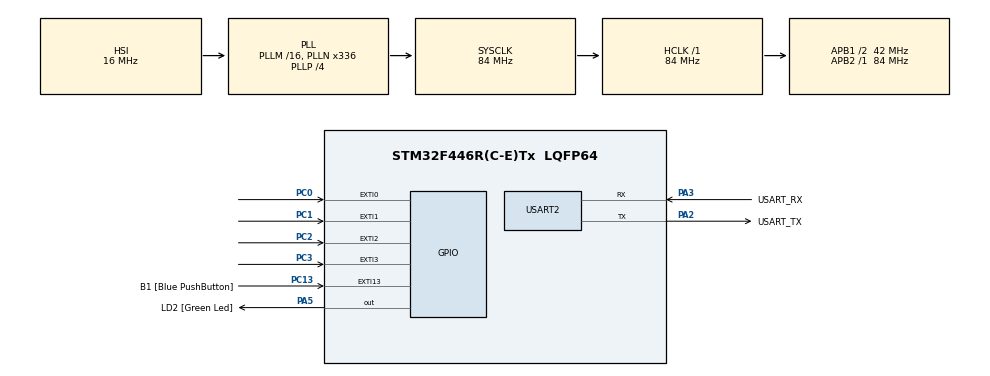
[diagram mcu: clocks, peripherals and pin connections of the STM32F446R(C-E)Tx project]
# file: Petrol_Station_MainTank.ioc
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FREERTOS.Mutexes01=TankMutex,Dynamic,NULL,Available
FREERTOS.Tasks01=defaultTask,24,128,StartDefaultTask,Default,NULL,Dynamic,NULL,NULL
FREERTOS.configUSE_NEWLIB_REENTRANT=1
Mcu.Family=STM32F4
Mcu.Name=STM32F446R(C-E)Tx
Mcu.Package=LQFP64
NVIC.EXTI0_IRQn=true\:0\:0\:false\:false\:true\:false\:true\:true\:true
NVIC.EXTI1_IRQn=true\:0\:0\:false\:false\:true\:false\:true\:true\:true
NVIC.EXTI2_IRQn=true\:0\:0\:false\:false\:true\:false\:true\:true\:true
NVIC.EXTI3_IRQn=true\:0\:0\:false\:false\:true\:false\:true\:true\:true
NVIC.PriorityGroup=NVIC_PRIORITYGROUP_4
NVIC.TIM1_UP_TIM10_IRQn=true\:15\:0\:false\:false\:true\:false\:false\:true\:true
NVIC.TimeBase=TIM1_UP_TIM10_IRQn
NVIC.TimeBaseIP=TIM10
PA13.GPIO_Label=TMS
PA13.Mode=Serial_Wire
PA13.Signal=SYS_JTMS-SWDIO
PA14.GPIO_Label=TCK
PA14.Mode=Serial_Wire
PA14.Signal=SYS_JTCK-SWCLK
PA2.GPIO_Label=USART_TX
PA2.Mode=Asynchronous
PA2.Signal=USART2_TX
PA3.GPIO_Label=USART_RX
PA3.Mode=Asynchronous
PA3.Signal=USART2_RX
PA5.GPIO_Label=LD2 [Green Led]
PA5.Signal=GPIO_Output
PB3.GPIO_Label=SWO
PB3.Signal=SYS_JTDO-SWO
PC0.Signal=GPXTI0
PC1.Signal=GPXTI1
PC13.GPIO_Label=B1 [Blue PushButton]
PC13.GPIO_ModeDefaultEXTI=GPIO_MODE_IT_FALLING
PC13.Signal=GPXTI13
PC14-OSC32_IN.Mode=LSE-External-Oscillator
PC14-OSC32_IN.Signal=RCC_OSC32_IN
PC15-OSC32_OUT.Mode=LSE-External-Oscillator
PC15-OSC32_OUT.Signal=RCC_OSC32_OUT
PC2.Signal=GPXTI2
PC3.Signal=GPXTI3
PH0-OSC_IN.Mode=HSE-External-Oscillator
PH0-OSC_IN.Signal=RCC_OSC_IN
PH1-OSC_OUT.Mode=HSE-External-Oscillator
PH1-OSC_OUT.Signal=RCC_OSC_OUT
ProjectManager.HeapSize=0x200
ProjectManager.StackSize=0x400
ProjectManager.TargetToolchain=STM32CubeIDE
RCC.48MHZClocksFreq_Value=84000000
RCC.AHBFreq_Value=84000000
RCC.APB1CLKDivider=RCC_HCLK_DIV2
RCC.APB1Freq_Value=42000000
RCC.APB1TimFreq_Value=84000000
RCC.APB2Freq_Value=84000000
RCC.APB2TimFreq_Value=84000000
RCC.CortexFreq_Value=84000000
RCC.FLatency-AdvancedSettings=FLASH_LATENCY_2
RCC.HCLKFreq_Value=84000000
RCC.HSE_VALUE=8000000
RCC.HSI_VALUE=16000000
RCC.PLLN=336
RCC.PLLP=RCC_PLLP_DIV4
RCC.SYSCLKFreq_VALUE=84000000
RCC.SYSCLKSource=RCC_SYSCLKSOURCE_PLLCLK
RCC.USBFreq_Value=168000000
RCC.VCOOutputFreq_Value=336000000
USART2.VirtualMode=VM_ASYNC
VP_FREERTOS_VS_CMSIS_V2.Mode=CMSIS_V2
VP_SYS_VS_tim10.Mode=TIM10
board=NUCLEO-F446RE

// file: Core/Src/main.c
/* USER CODE BEGIN Header */
/**
  ******************************************************************************
  * @file           : main.c
  * @brief          : Main program body
  ******************************************************************************
  * @attention
  *
  * Copyright (c) 2026 STMicroelectronics.
  * All rights reserved.
  *
  * This software is licensed under terms that can be found in the LICENSE file
  * in the root directory of this software component.
  * If no LICENSE file comes with this software, it is provided AS-IS.
  *
  ******************************************************************************
  */
/* USER CODE END Header */
#include "main.h"
#include "cmsis_os.h"

UART_HandleTypeDef huart2;

/* Definitions for defaultTask */
osThreadId_t defaultTaskHandle;
const osThreadAttr_t defaultTask_attributes = {
  .name = "defaultTask",
  .stack_size = 128 * 4,
  .priority = (osPriority_t) osPriorityNormal,
};
/* Definitions for TankMutex */
osMutexId_t TankMutexHandle;
const osMutexAttr_t TankMutex_attributes = {
  .name = "TankMutex"
};

/* USER CODE BEGIN PV */
uint32_t petrol_tank = 50000;
osMessageQueueId_t PumpQueueHandle;
uint32_t last_interrupt_time = 0;
osThreadId_t MqttTaskHandle;

// ADD THESE: DoE Variables for timing the ISR
uint32_t isr_start_time = 0;
uint32_t isr_end_time = 0;
uint32_t isr_execution_cycles = 0;
/* USER CODE END PV */

void SystemClock_Config(void);
static void MX_GPIO_Init(void);
static void MX_USART2_UART_Init(void);
void StartDefaultTask(void *argument);

/* USER CODE BEGIN PFP */
void StartMqttTask(void *argument);
/* USER CODE END PFP */

int main(void)
{

  /* MCU Configuration--------------------------------------------------------*/

  /* Reset of all peripherals, Initializes the Flash interface and the Systick. */
  HAL_Init();

  /* Configure the system clock */
  SystemClock_Config();

  /* Initialize all configured peripherals */
  MX_GPIO_Init();
  MX_USART2_UART_Init();

  /* USER CODE BEGIN 2 */
  // Enable the DWT Cycle Counter for precise hardware measurements
  CoreDebug->DEMCR |= CoreDebug_DEMCR_TRCENA_Msk;
  DWT->CYCCNT = 0;
  DWT->CTRL |= DWT_CTRL_CYCCNTENA_Msk;
  /* USER CODE END 2 */

  /* Init scheduler */
  osKernelInitialize();
  /* Create the mutex(es) */
  /* creation of TankMutex */
  TankMutexHandle = osMutexNew(&TankMutex_attributes);

  /* USER CODE BEGIN RTOS_QUEUES */
  // Initialize the queue to hold up to 10 incoming pump signals (1 byte each)
  PumpQueueHandle = osMessageQueueNew(10, sizeof(uint8_t), NULL);
  /* USER CODE END RTOS_QUEUES */

  /* Create the thread(s) */
  /* creation of defaultTask */
  defaultTaskHandle = osThreadNew(StartDefaultTask, NULL, &defaultTask_attributes);

  /* USER CODE BEGIN RTOS_THREADS */
    const osThreadAttr_t MqttTask_attributes = {
      .name = "MqttTask",
      .stack_size = 256 * 4, // Plenty of stack space for string formatting
      .priority = (osPriority_t) osPriorityNormal,
    };
    MqttTaskHandle = osThreadNew(StartMqttTask, NULL, &MqttTask_attributes);
    /* USER CODE END RTOS_THREADS */

  /* Start scheduler */
  osKernelStart();

  /* We should never get here as control is now taken by the scheduler */

  /* Infinite loop */
  while (1)
  {

  }
}

void SystemClock_Config(void)
{
  RCC_OscInitTypeDef RCC_OscInitStruct = {0};
  RCC_ClkInitTypeDef RCC_ClkInitStruct = {0};

  /** Configure the main internal regulator output voltage
  */
  __HAL_RCC_PWR_CLK_ENABLE();
  __HAL_PWR_VOLTAGESCALING_CONFIG(PWR_REGULATOR_VOLTAGE_SCALE3);

  /** Initializes the RCC Oscillators according to the specified parameters
  * in the RCC_OscInitTypeDef structure.
  */
  RCC_OscInitStruct.OscillatorType = RCC_OSCILLATORTYPE_HSI;
  RCC_OscInitStruct.HSIState = RCC_HSI_ON;
  RCC_OscInitStruct.HSICalibrationValue = RCC_HSICALIBRATION_DEFAULT;
  RCC_OscInitStruct.PLL.PLLState = RCC_PLL_ON;
  RCC_OscInitStruct.PLL.PLLSource = RCC_PLLSOURCE_HSI;
  RCC_OscInitStruct.PLL.PLLM = 16;
  RCC_OscInitStruct.PLL.PLLN = 336;
  RCC_OscInitStruct.PLL.PLLP = RCC_PLLP_DIV4;
  RCC_OscInitStruct.PLL.PLLQ = 2;
  RCC_OscInitStruct.PLL.PLLR = 2;
  if (HAL_RCC_OscConfig(&RCC_OscInitStruct) != HAL_OK)
  {
    Error_Handler();
  }

  /** Initializes the CPU, AHB and APB buses clocks
  */
  RCC_ClkInitStruct.ClockType = RCC_CLOCKTYPE_HCLK|RCC_CLOCKTYPE_SYSCLK
                              |RCC_CLOCKTYPE_PCLK1|RCC_CLOCKTYPE_PCLK2;
  RCC_ClkInitStruct.SYSCLKSource = RCC_SYSCLKSOURCE_PLLCLK;
  RCC_ClkInitStruct.AHBCLKDivider = RCC_SYSCLK_DIV1;
  RCC_ClkInitStruct.APB1CLKDivider = RCC_HCLK_DIV2;
  RCC_ClkInitStruct.APB2CLKDivider = RCC_HCLK_DIV1;

  if (HAL_RCC_ClockConfig(&RCC_ClkInitStruct, FLASH_LATENCY_2) != HAL_OK)
  {
    Error_Handler();
  }
}

static void MX_USART2_UART_Init(void)
{

  huart2.Instance = USART2;
  huart2.Init.BaudRate = 115200;
  huart2.Init.WordLength = UART_WORDLENGTH_8B;
  huart2.Init.StopBits = UART_STOPBITS_1;
  huart2.Init.Parity = UART_PARITY_NONE;
  huart2.Init.Mode = UART_MODE_TX_RX;
  huart2.Init.HwFlowCtl = UART_HWCONTROL_NONE;
  huart2.Init.OverSampling = UART_OVERSAMPLING_16;
  if (HAL_UART_Init(&huart2) != HAL_OK)
  {
    Error_Handler();
  }

}

static void MX_GPIO_Init(void)
{
  GPIO_InitTypeDef GPIO_InitStruct = {0};

  /* GPIO Ports Clock Enable */
  __HAL_RCC_GPIOC_CLK_ENABLE();
  __HAL_RCC_GPIOH_CLK_ENABLE();
  __HAL_RCC_GPIOA_CLK_ENABLE();
  __HAL_RCC_GPIOB_CLK_ENABLE();

  /*Configure GPIO pin Output Level */
  HAL_GPIO_WritePin(LD2_GPIO_Port, LD2_Pin, GPIO_PIN_RESET);

  /*Configure GPIO pin : B1_Pin */
  GPIO_InitStruct.Pin = B1_Pin;
  GPIO_InitStruct.Mode = GPIO_MODE_IT_FALLING;
  GPIO_InitStruct.Pull = GPIO_NOPULL;
  HAL_GPIO_Init(B1_GPIO_Port, &GPIO_InitStruct);

  /*Configure GPIO pins : PC0 PC1 PC2 PC3 */
  GPIO_InitStruct.Pin = GPIO_PIN_0|GPIO_PIN_1|GPIO_PIN_2|GPIO_PIN_3;
  GPIO_InitStruct.Mode = GPIO_MODE_IT_RISING;
  GPIO_InitStruct.Pull = GPIO_NOPULL;
  HAL_GPIO_Init(GPIOC, &GPIO_InitStruct);

  /*Configure GPIO pin : LD2_Pin */
  GPIO_InitStruct.Pin = LD2_Pin;
  GPIO_InitStruct.Mode = GPIO_MODE_OUTPUT_PP;
  GPIO_InitStruct.Pull = GPIO_NOPULL;
  GPIO_InitStruct.Speed = GPIO_SPEED_FREQ_LOW;
  HAL_GPIO_Init(LD2_GPIO_Port, &GPIO_InitStruct);

  /* EXTI interrupt init*/
  HAL_NVIC_SetPriority(EXTI0_IRQn, 0, 0);
  HAL_NVIC_EnableIRQ(EXTI0_IRQn);

  HAL_NVIC_SetPriority(EXTI1_IRQn, 0, 0);
  HAL_NVIC_EnableIRQ(EXTI1_IRQn);

  HAL_NVIC_SetPriority(EXTI2_IRQn, 0, 0);
  HAL_NVIC_EnableIRQ(EXTI2_IRQn);

  HAL_NVIC_SetPriority(EXTI3_IRQn, 0, 0);
  HAL_NVIC_EnableIRQ(EXTI3_IRQn);

}

/* USER CODE BEGIN 4 */
void HAL_GPIO_EXTI_Callback(uint16_t GPIO_Pin)
{
  // ... (Your existing DoE and Interrupt code is here, leave it alone!) ...
}

// PASTE THIS MISSING FUNCTION RIGHT HERE:
void StartMqttTask(void *argument)
{
  char at_command[128];
  uint32_t current_tank_level = 0;

  for(;;)
  {
    // 1. Safely grab the Mutex to read the shared tank value
    if (osMutexAcquire(TankMutexHandle, osWaitForever) == osOK)
    {
      current_tank_level = petrol_tank;
      osMutexRelease(TankMutexHandle); // Release immediately
    }

    // 2. Format the AT Command (Thread-safe!)
    sprintf(at_command, "AT+MQTTPUB=0,\"station/tank\",\"%luL\",0,0\r\n", current_tank_level);

    // 3. Send the command via UART to the ESP8266
    HAL_UART_Transmit(&huart2, (uint8_t*)at_command, strlen(at_command), 1000);

    // 4. Sleep for 2 seconds before sending the next update
    osDelay(2000);
  }
}
/* USER CODE END 4 */

void StartDefaultTask(void *argument)
{
	/* USER CODE BEGIN 5 */
	  uint8_t received_pump_id;

	  /* Infinite loop */
	  for(;;)
	  {
	    // 1. Wait for a pump signal from the EXTI interrupt queue
	    if (osMessageQueueGet(PumpQueueHandle, &received_pump_id, NULL, osWaitForever) == osOK)
	    {
	      // 2. We received a pump signal! Take the Mutex.
	      if (osMutexAcquire(TankMutexHandle, osWaitForever) == osOK)
	      {
	        // 3. Critial Section: Update the single variable
	        if (petrol_tank > 0)
	        {
	          petrol_tank--;
	        }

	        // 4. Immediately release the Mutex so other pumps can access it
	        osMutexRelease(TankMutexHandle);
	      }
	    }
	  }
	/* USER CODE END 5 */
}

void HAL_TIM_PeriodElapsedCallback(TIM_HandleTypeDef *htim)
{
  if (htim->Instance == TIM10)
  {
    HAL_IncTick();
  }
}

void Error_Handler(void)
{
  __disable_irq();
  while (1)
  {
  }
}
